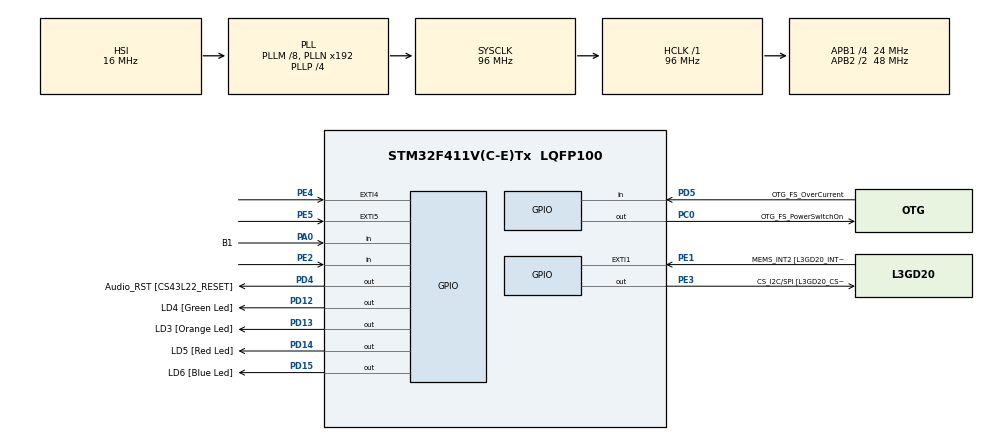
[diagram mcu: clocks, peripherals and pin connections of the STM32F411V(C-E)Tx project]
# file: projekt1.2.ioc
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Mcu.Family=STM32F4
Mcu.Name=STM32F411V(C-E)Tx
Mcu.Package=LQFP100
NVIC.PriorityGroup=NVIC_PRIORITYGROUP_0
PA0-WKUP.GPIO_Label=B1
PA0-WKUP.Signal=GPIO_Input
PA10.GPIO_Label=OTG_FS_ID
PA10.Signal=USB_OTG_FS_ID
PA11.GPIO_Label=OTG_FS_DM
PA11.Signal=USB_OTG_FS_DM
PA12.GPIO_Label=OTG_FS_DP
PA12.Signal=USB_OTG_FS_DP
PA13.GPIO_Label=SWDIO
PA13.Signal=SYS_JTMS-SWDIO
PA14.GPIO_Label=SWCLK
PA14.Signal=SYS_JTCK-SWCLK
PA4.GPIO_Label=I2S3_WS [CS43L22_LRCK]
PA4.GPIO_Mode=GPIO_MODE_AF_PP
PA4.GPIO_PuPd=GPIO_NOPULL
PA4.GPIO_Speed=GPIO_SPEED_FREQ_LOW
PA4.Signal=I2S3_WS
PA5.GPIO_Label=SPI1_SCK [L3GD20_SC/SPC]
PA5.Signal=SPI1_SCK
PA6.GPIO_Label=SPI1_MISO [L3GD20_AS0/SDO]
PA6.Signal=SPI1_MISO
PA7.GPIO_Label=SPI1_MOSI [L3GD20_SDA/SDI/SDO]
PA7.Signal=SPI1_MOSI
PA9.GPIO_Label=VBUS_FS
PA9.Signal=USB_OTG_FS_VBUS
PB10.GPIO_Label=CLK_IN [MP45DT02_CLK]
PB10.Signal=I2S2_CK
PB12.Signal=I2S2_WS
PB3.GPIO_Label=SWO
PB3.Signal=SYS_JTDO-SWO
PB6.GPIO_Label=Audio_SCL [CS43L22_SCL]
PB6.GPIO_Mode=GPIO_MODE_AF_OD
PB6.GPIO_PuPd=GPIO_NOPULL
PB6.GPIO_Speed=GPIO_SPEED_FREQ_LOW
PB6.Signal=I2C1_SCL
PB9.GPIO_Label=Audio_SDA [CS43L22_SDA]
PB9.GPIO_Mode=GPIO_MODE_AF_OD
PB9.GPIO_PuPd=GPIO_NOPULL
PB9.GPIO_Speed=GPIO_SPEED_FREQ_LOW
PB9.Signal=I2C1_SDA
PC0.GPIO_Label=OTG_FS_PowerSwitchOn
PC0.PinState=GPIO_PIN_SET
PC0.Signal=GPIO_Output
PC10.GPIO_Label=I2S3_SCK [CS43L22_SCLK]
PC10.GPIO_Mode=GPIO_MODE_AF_PP
PC10.GPIO_PuPd=GPIO_NOPULL
PC10.GPIO_Speed=GPIO_SPEED_FREQ_LOW
PC10.Signal=I2S3_CK
PC12.GPIO_Label=I2S3_SD [CS43L22_SDIN]
PC12.GPIO_Mode=GPIO_MODE_AF_PP
PC12.GPIO_PuPd=GPIO_NOPULL
PC12.GPIO_Speed=GPIO_SPEED_FREQ_LOW
PC12.Signal=I2S3_SD
PC14-OSC32_IN.GPIO_Label=PC14-OSC32_IN
PC14-OSC32_IN.Signal=RCC_OSC32_IN
PC15-OSC32_OUT.GPIO_Label=PC15-OSC32_OUT
PC15-OSC32_OUT.Signal=RCC_OSC32_OUT
PC3.GPIO_Label=PDM_OUT [MP45DT02_DOUT]
PC3.Signal=I2S2_SD
PC7.GPIO_Label=I2S3_MCK [CS43L22_MCLK]
PC7.GPIO_Mode=GPIO_MODE_AF_PP
PC7.GPIO_PuPd=GPIO_NOPULL
PC7.GPIO_Speed=GPIO_SPEED_FREQ_LOW
PC7.Signal=I2S3_MCK
PD12.GPIO_Label=LD4 [Green Led]
PD12.GPIO_PuPd=GPIO_NOPULL
PD12.GPIO_Speed=GPIO_SPEED_FREQ_LOW
PD12.Signal=GPIO_Output
PD13.GPIO_Label=LD3 [Orange Led]
PD13.GPIO_PuPd=GPIO_NOPULL
PD13.GPIO_Speed=GPIO_SPEED_FREQ_LOW
PD13.Signal=GPIO_Output
PD14.GPIO_Label=LD5 [Red Led]
PD14.GPIO_PuPd=GPIO_NOPULL
PD14.GPIO_Speed=GPIO_SPEED_FREQ_LOW
PD14.Signal=GPIO_Output
PD15.GPIO_Label=LD6 [Blue Led]
PD15.GPIO_PuPd=GPIO_NOPULL
PD15.GPIO_Speed=GPIO_SPEED_FREQ_LOW
PD15.Signal=GPIO_Output
PD4.GPIO_Label=Audio_RST [CS43L22_RESET]
PD4.Signal=GPIO_Output
PD5.GPIO_Label=OTG_FS_OverCurrent
PD5.Signal=GPIO_Input
PE1.GPIO_Label=MEMS_INT2 [L3GD20_INT2]
PE1.GPIO_ModeDefaultEXTI=GPIO_MODE_EVT_RISING
PE1.Signal=GPXTI1
PE2.Signal=GPIO_Input
PE3.GPIO_Label=CS_I2C/SPI [L3GD20_CS_I2C/SPI]
PE3.Signal=GPIO_Output
PE4.GPIO_ModeDefaultEXTI=GPIO_MODE_EVT_RISING
PE4.Signal=GPXTI4
PE5.GPIO_ModeDefaultEXTI=GPIO_MODE_EVT_RISING
PE5.Signal=GPXTI5
PH0\ -\ OSC_IN.GPIO_Label=PH0-OSC_IN
PH0\ -\ OSC_IN.Signal=RCC_OSC_IN
PH1\ -\ OSC_OUT.GPIO_Label=PH1-OSC_OUT
PH1\ -\ OSC_OUT.Signal=RCC_OSC_OUT
ProjectManager.HeapSize=0x200
ProjectManager.StackSize=0x400
ProjectManager.TargetToolchain=STM32CubeIDE
RCC.48MHZClocksFreq_Value=48000000
RCC.AHBFreq_Value=96000000
RCC.APB1CLKDivider=RCC_HCLK_DIV4
RCC.APB1Freq_Value=24000000
RCC.APB1TimFreq_Value=48000000
RCC.APB2CLKDivider=RCC_HCLK_DIV2
RCC.APB2Freq_Value=48000000
RCC.APB2TimFreq_Value=96000000
RCC.CortexFreq_Value=96000000
RCC.HCLKFreq_Value=96000000
RCC.HSE_VALUE=8000000
RCC.HSI_VALUE=16000000
RCC.LSE_VALUE=32768
RCC.PLLI2SM=5
RCC.PLLI2SN=200
RCC.PLLM=8
RCC.PLLP=RCC_PLLP_DIV4
RCC.PLLQ=8
RCC.SYSCLKFreq_VALUE=96000000
RCC.SYSCLKSource=RCC_SYSCLKSOURCE_PLLCLK
RCC.VCOOutputFreq_Value=384000000
board=STM32F411E-DISCO

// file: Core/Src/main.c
/* USER CODE BEGIN Header */
/**
  ******************************************************************************
  * @file           : main.c
  * @brief          : Main program body
  ******************************************************************************
  * @attention
  *
  * Copyright (c) 2024 STMicroelectronics.
  * All rights reserved.
  *
  * This software is licensed under terms that can be found in the LICENSE file
  * in the root directory of this software component.
  * If no LICENSE file comes with this software, it is provided AS-IS.
  *
  ******************************************************************************
  */
/* USER CODE END Header */
#include "main.h"
#include "gpio.h"

void SystemClock_Config(void);

int main(void)
{

  /* MCU Configuration--------------------------------------------------------*/

  /* Reset of all peripherals, Initializes the Flash interface and the Systick. */
  HAL_Init();

  /* Configure the system clock */
  SystemClock_Config();

  /* Initialize all configured peripherals */
  MX_GPIO_Init();
  /* USER CODE BEGIN 2 */
  uint16_t pinArray[] = {
      LD4_Pin,
      LD3_Pin,
      LD5_Pin,
	  LD6_Pin
  };
  int n = 0;
  HAL_GPIO_WritePin(GPIOD, pinArray[n], GPIO_PIN_SET);
  /* USER CODE END 2 */

  /* Infinite loop */
  /* USER CODE BEGIN WHILE */
  while (1)
  {

	  if(HAL_GPIO_ReadPin(B1_GPIO_Port, B1_Pin))
	  {
		  HAL_Delay(10);

		  HAL_GPIO_WritePin(GPIOD, pinArray[n], GPIO_PIN_RESET);
		  n++;
		  if(n==4){n=0;}
		  HAL_GPIO_WritePin(GPIOD, pinArray[n], GPIO_PIN_SET);

		  while(HAL_GPIO_ReadPin(B1_GPIO_Port, B1_Pin));
	  }
    /* USER CODE END WHILE */

  }
}

void SystemClock_Config(void)
{
  RCC_OscInitTypeDef RCC_OscInitStruct = {0};
  RCC_ClkInitTypeDef RCC_ClkInitStruct = {0};

  /** Configure the main internal regulator output voltage
  */
  __HAL_RCC_PWR_CLK_ENABLE();
  __HAL_PWR_VOLTAGESCALING_CONFIG(PWR_REGULATOR_VOLTAGE_SCALE1);

  /** Initializes the RCC Oscillators according to the specified parameters
  * in the RCC_OscInitTypeDef structure.
  */
  RCC_OscInitStruct.OscillatorType = RCC_OSCILLATORTYPE_HSI;
  RCC_OscInitStruct.HSIState = RCC_HSI_ON;
  RCC_OscInitStruct.HSICalibrationValue = RCC_HSICALIBRATION_DEFAULT;
  RCC_OscInitStruct.PLL.PLLState = RCC_PLL_ON;
  RCC_OscInitStruct.PLL.PLLSource = RCC_PLLSOURCE_HSI;
  RCC_OscInitStruct.PLL.PLLM = 8;
  RCC_OscInitStruct.PLL.PLLN = 192;
  RCC_OscInitStruct.PLL.PLLP = RCC_PLLP_DIV4;
  RCC_OscInitStruct.PLL.PLLQ = 8;
  if (HAL_RCC_OscConfig(&RCC_OscInitStruct) != HAL_OK)
  {
    Error_Handler();
  }

  /** Initializes the CPU, AHB and APB buses clocks
  */
  RCC_ClkInitStruct.ClockType = RCC_CLOCKTYPE_HCLK|RCC_CLOCKTYPE_SYSCLK
                              |RCC_CLOCKTYPE_PCLK1|RCC_CLOCKTYPE_PCLK2;
  RCC_ClkInitStruct.SYSCLKSource = RCC_SYSCLKSOURCE_PLLCLK;
  RCC_ClkInitStruct.AHBCLKDivider = RCC_SYSCLK_DIV1;
  RCC_ClkInitStruct.APB1CLKDivider = RCC_HCLK_DIV4;
  RCC_ClkInitStruct.APB2CLKDivider = RCC_HCLK_DIV2;

  if (HAL_RCC_ClockConfig(&RCC_ClkInitStruct, FLASH_LATENCY_3) != HAL_OK)
  {
    Error_Handler();
  }
}

void Error_Handler(void)
{
  __disable_irq();
  while (1)
  {
  }
}
